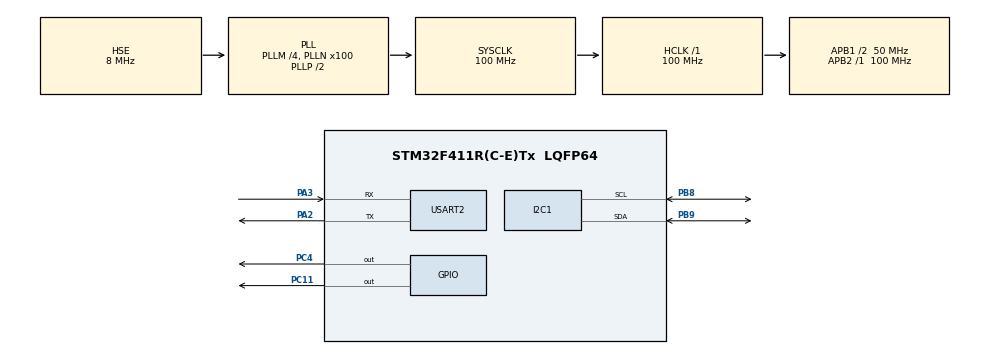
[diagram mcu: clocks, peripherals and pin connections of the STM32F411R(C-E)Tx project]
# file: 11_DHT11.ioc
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Mcu.Family=STM32F4
Mcu.Name=STM32F411R(C-E)Tx
Mcu.Package=LQFP64
NVIC.PriorityGroup=NVIC_PRIORITYGROUP_4
NVIC.USART2_IRQn=true\:0\:0\:false\:false\:true\:true\:true\:true
PA13.Mode=Serial_Wire
PA13.Signal=SYS_JTMS-SWDIO
PA14.Mode=Serial_Wire
PA14.Signal=SYS_JTCK-SWCLK
PA2.Mode=Asynchronous
PA2.Signal=USART2_TX
PA3.Mode=Asynchronous
PA3.Signal=USART2_RX
PB8.Mode=I2C
PB8.Signal=I2C1_SCL
PB9.Mode=I2C
PB9.Signal=I2C1_SDA
PC11.Signal=GPIO_Output
PC4.Signal=GPIO_Output
PH0\ -\ OSC_IN.Mode=HSE-External-Oscillator
PH0\ -\ OSC_IN.Signal=RCC_OSC_IN
PH1\ -\ OSC_OUT.Mode=HSE-External-Oscillator
PH1\ -\ OSC_OUT.Signal=RCC_OSC_OUT
ProjectManager.HeapSize=0x200
ProjectManager.StackSize=0x400
ProjectManager.TargetToolchain=STM32CubeIDE
RCC.48MHZClocksFreq_Value=50000000
RCC.AHBFreq_Value=100000000
RCC.APB1CLKDivider=RCC_HCLK_DIV2
RCC.APB1Freq_Value=50000000
RCC.APB1TimFreq_Value=100000000
RCC.APB2Freq_Value=100000000
RCC.APB2TimFreq_Value=100000000
RCC.CortexFreq_Value=100000000
RCC.HCLKFreq_Value=100000000
RCC.HSE_VALUE=8000000
RCC.HSI_VALUE=16000000
RCC.LSE_VALUE=32768
RCC.PLLM=4
RCC.PLLN=100
RCC.PLLSourceVirtual=RCC_PLLSOURCE_HSE
RCC.SYSCLKFreq_VALUE=100000000
RCC.SYSCLKSource=RCC_SYSCLKSOURCE_PLLCLK
RCC.VCOOutputFreq_Value=200000000
TIM11.Prescaler=100-1 
USART2.VirtualMode=VM_ASYNC
VP_TIM11_VS_ClockSourceINT.Mode=Enable_Timer
board=custom

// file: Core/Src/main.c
/* USER CODE BEGIN Header */
/**
  ******************************************************************************
  * @file           : main.c
  * @brief          : Main program body
  ******************************************************************************
  * @attention
  *
  * Copyright (c) 2025 STMicroelectronics.
  * All rights reserved.
  *
  * This software is licensed under terms that can be found in the LICENSE file
  * in the root directory of this software component.
  * If no LICENSE file comes with this software, it is provided AS-IS.
  *
  ******************************************************************************
  */
/* USER CODE END Header */
#include "main.h"
#include "i2c.h"
#include "tim.h"
#include "usart.h"
#include "gpio.h"

/* USER CODE BEGIN Includes */

#include "dht11.h"
#include "I2C_LCD.h"

/* USER CODE END Includes */

/* USER CODE BEGIN PM */

int _write(int file, unsigned char* p, int len)
{
    HAL_StatusTypeDef status = HAL_UART_Transmit(&huart2, p, len, 100);
    return (status == HAL_OK ? len : 0);
}

/* USER CODE END PM */

/* USER CODE BEGIN PV */

DHT11 dht;

/* USER CODE END PV */

void SystemClock_Config(void);

int main(void)
{

  /* MCU Configuration--------------------------------------------------------*/

  /* Reset of all peripherals, Initializes the Flash interface and the Systick. */
  HAL_Init();

  /* Configure the system clock */
  SystemClock_Config();

  /* Initialize all configured peripherals */
  MX_GPIO_Init();
  MX_USART2_UART_Init();
  MX_TIM11_Init();
  MX_I2C1_Init();
  /* USER CODE BEGIN 2 */

  i2c_lcd_init();
  dht11Init(&dht, GPIOC, GPIO_PIN_4);

  /* USER CODE END 2 */

  /* Infinite loop */
  /* USER CODE BEGIN WHILE */
  while (1)
  {

	      if (dht11Read(&dht))
	      {
	          printf("Temperature: %d C, Humidity: %d %%\r\n", dht.temperature, dht.humidity);

	          char buffer[16];

	          move_cursor(0,0);
	          sprintf(buffer, "Temp: %d C", dht.temperature);
	          lcd_string(buffer);

	          move_cursor(1,0);
	          sprintf(buffer, "Hum: %d %%", dht.humidity);
	          lcd_string(buffer);
	      }
	      else
	      {
	          printf("Failed read data from DHT11\n");
	      }

	      HAL_Delay(2000); // 2초마다 갱신
	  }

//	  // dht11 데이터 읽기
//	  if(dht11Read(&dht))
//	  {
//		  printf("Temperature : %d C, Humidity %d %% \r\n",dht.temperature, dht.humidity);
//
//		  move_cursor(0,0);
//		  lcd_string("Temp : %d C",dht.temperature);
//		  move_cursor(1,0);
//		  lcd_string("Hum : %d %%",dht.humidity);
//	  }
//	  else
//	  {
//		  printf("Failed read data from DHT11\n");
//	  }
//
//	  HAL_Delay(2000);

//	  if (dht.humidity > 40)
//	  {
//            HAL_GPIO_WritePin(GPIOC, GPIO_PIN_11, 1);
//	  }
//	  else
//	  {
//		  HAL_GPIO_WritePin(GPIOC, GPIO_PIN_11, 0);
//	  }

    /* USER CODE END WHILE */

}

void SystemClock_Config(void)
{
  RCC_OscInitTypeDef RCC_OscInitStruct = {0};
  RCC_ClkInitTypeDef RCC_ClkInitStruct = {0};

  /** Configure the main internal regulator output voltage
  */
  __HAL_RCC_PWR_CLK_ENABLE();
  __HAL_PWR_VOLTAGESCALING_CONFIG(PWR_REGULATOR_VOLTAGE_SCALE1);

  /** Initializes the RCC Oscillators according to the specified parameters
  * in the RCC_OscInitTypeDef structure.
  */
  RCC_OscInitStruct.OscillatorType = RCC_OSCILLATORTYPE_HSE;
  RCC_OscInitStruct.HSEState = RCC_HSE_ON;
  RCC_OscInitStruct.PLL.PLLState = RCC_PLL_ON;
  RCC_OscInitStruct.PLL.PLLSource = RCC_PLLSOURCE_HSE;
  RCC_OscInitStruct.PLL.PLLM = 4;
  RCC_OscInitStruct.PLL.PLLN = 100;
  RCC_OscInitStruct.PLL.PLLP = RCC_PLLP_DIV2;
  RCC_OscInitStruct.PLL.PLLQ = 4;
  if (HAL_RCC_OscConfig(&RCC_OscInitStruct) != HAL_OK)
  {
    Error_Handler();
  }

  /** Initializes the CPU, AHB and APB buses clocks
  */
  RCC_ClkInitStruct.ClockType = RCC_CLOCKTYPE_HCLK|RCC_CLOCKTYPE_SYSCLK
                              |RCC_CLOCKTYPE_PCLK1|RCC_CLOCKTYPE_PCLK2;
  RCC_ClkInitStruct.SYSCLKSource = RCC_SYSCLKSOURCE_PLLCLK;
  RCC_ClkInitStruct.AHBCLKDivider = RCC_SYSCLK_DIV1;
  RCC_ClkInitStruct.APB1CLKDivider = RCC_HCLK_DIV2;
  RCC_ClkInitStruct.APB2CLKDivider = RCC_HCLK_DIV1;

  if (HAL_RCC_ClockConfig(&RCC_ClkInitStruct, FLASH_LATENCY_3) != HAL_OK)
  {
    Error_Handler();
  }
}

void Error_Handler(void)
{
  __disable_irq();
  while (1)
  {
  }
}
